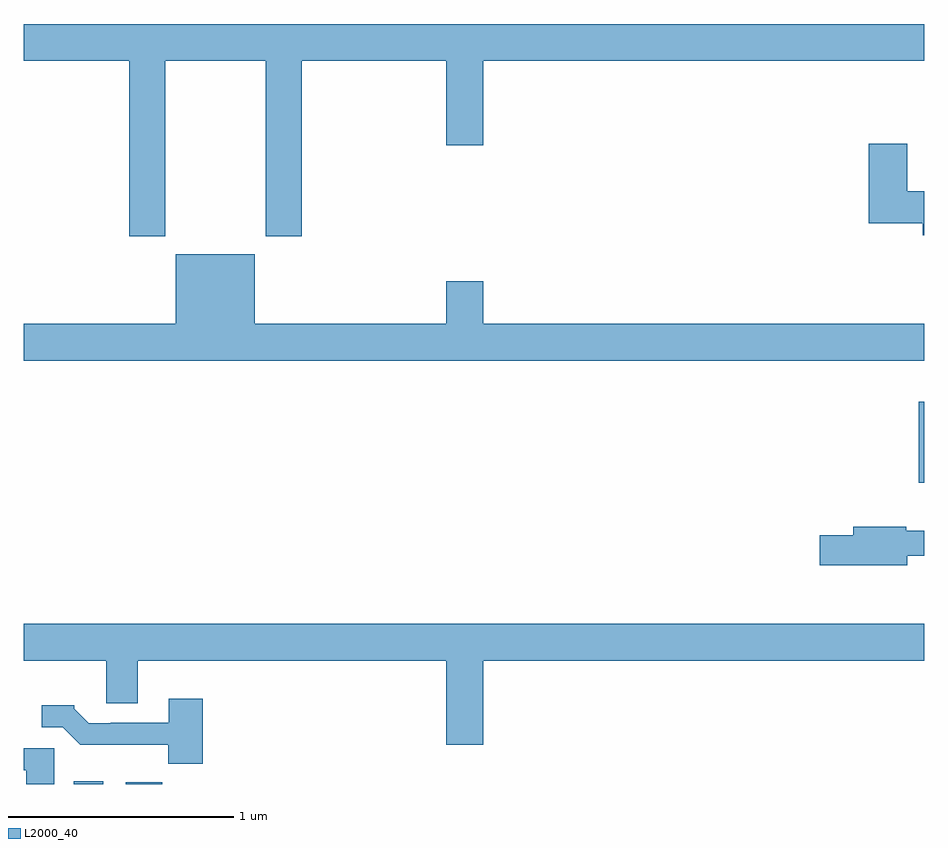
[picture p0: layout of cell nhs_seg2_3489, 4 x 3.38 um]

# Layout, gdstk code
import gdstk
lib = gdstk.Library(unit=1e-6, precision=1e-09)
def R(c, l, rs):  # rectangles x0, y0, x1, y1
    for r in rs: c.add(gdstk.rectangle(r[:2], r[2:], *l))
def P(c, l, *ps):  # polygons
    for p in ps: c.add(gdstk.Polygon(p, *l))
L2000_40 = (2000, 40)

nhs_seg2_3489 = lib.new_cell('nhs_seg2_3489')
R(nhs_seg2_3489, L2000_40, [(295.223,601.8,295.354,601.813), (295.454,601.8,295.616,601.807), (298.976,603.138,299,603.499)])
P(nhs_seg2_3489, L2000_40, [(295.629,605.012),(296.074,605.012),(296.074,604.233),(296.234,604.233),(296.234,605.012),(296.876,605.012),(296.876,604.638),(297.04,604.638),(297.04,605.012),(299,605.012),(299,605.176),(295,605.176),(295,605.012),(295.469,605.012),(295.469,604.233),(295.629,604.233)],
  [(299,604.432),(298.924,604.432),(298.924,604.645),(298.754,604.645),(298.754,604.292),(298.994,604.292),(298.994,604.238),(299,604.238)],
  [(299,603.844),(297.04,603.844),(297.04,604.033),(296.876,604.033),(296.876,603.844),(296.026,603.844),(296.026,604.153),(295.676,604.153),(295.676,603.844),(295,603.844),(295,603.68),(299,603.68)],
  [(298.924,602.814),(299,602.814),(299,602.924),(298.92,602.924),(298.92,602.942),(298.685,602.942),(298.685,602.906),(298.536,602.906),(298.536,602.771),(298.924,602.771)],
  [(297.04,602.348),(299,602.348),(299,602.512),(295,602.512),(295,602.348),(295.367,602.348),(295.367,602.158),(295.507,602.158),(295.507,602.348),(296.876,602.348),(296.876,601.974),(297.04,601.974)],
  [(295.796,602.179),(295.643,602.179),(295.643,602.073),(295.387,602.073),(295.387,602.07),(295.288,602.07),(295.224,602.134),(295.224,602.149),(295.08,602.149),(295.08,602.052),(295.173,602.052),(295.252,601.974),(295.641,601.974),(295.641,601.889),(295.796,601.889)],
  [(295.135,601.959),(295,601.959),(295,601.862),(295.01,601.862),(295.01,601.8),(295.135,601.8)])

lib.write_gds('nhs_seg2_3489.gds')
